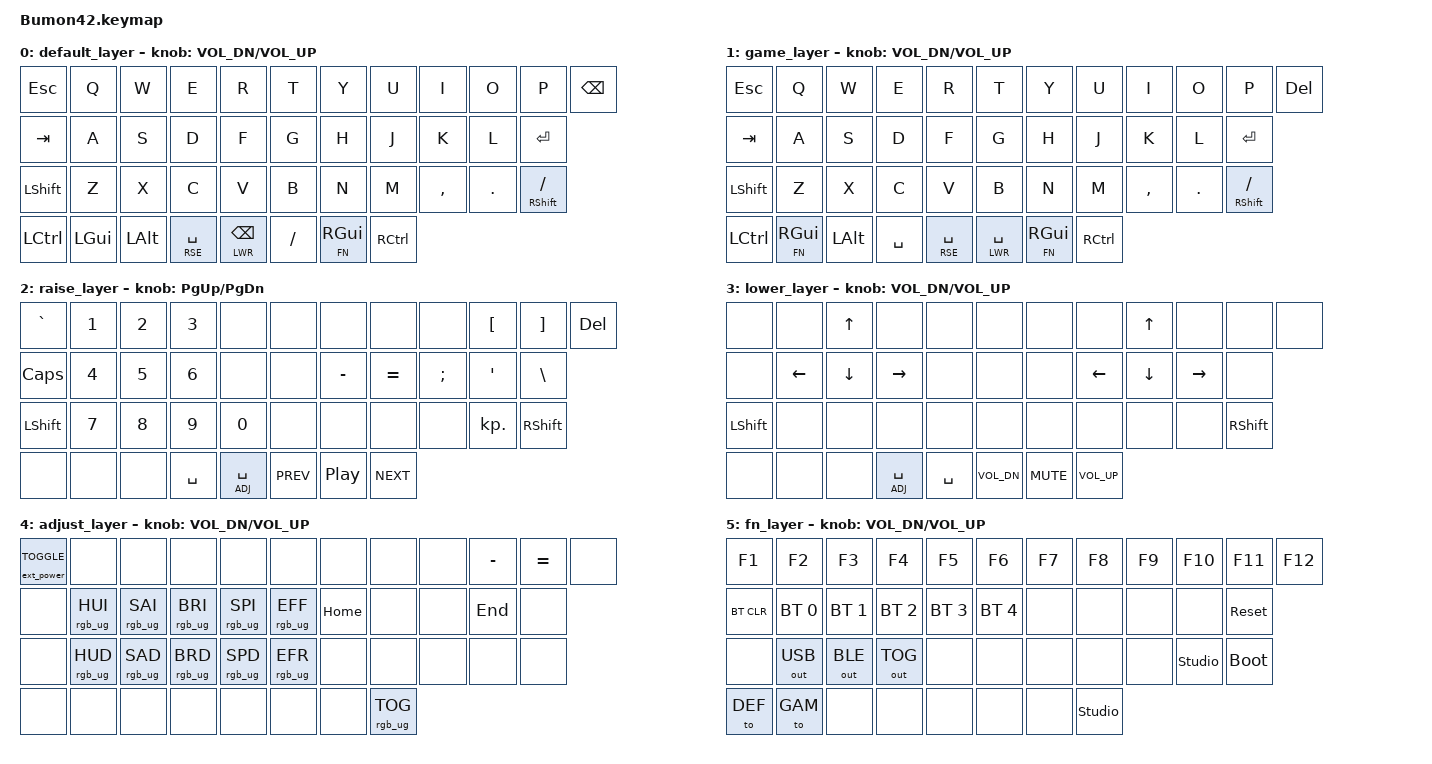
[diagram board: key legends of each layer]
#include <behaviors.dtsi>
#include <dt-bindings/zmk/bt.h>
#include <dt-bindings/zmk/ext_power.h>
#include <dt-bindings/zmk/keys.h>
#include <dt-bindings/zmk/outputs.h>
#include <dt-bindings/zmk/rgb.h>

// changed lwr and rse

#define DEF 0
#define GAM 1
#define RSE 2
#define LWR 3
#define ADJ 4
#define FN  5

/ {
    keymap {
        compatible = "zmk,keymap";

        default_layer {
            bindings = <
&kp ESC    &kp Q     &kp W     &kp E          &kp R              &kp T      &kp Y        &kp U      &kp I      &kp O    &kp P             &kp BSPC
&kp TAB    &kp A     &kp S     &kp D          &kp F              &kp G      &kp H        &kp J      &kp K      &kp L    &kp ENTER
&kp LSHFT  &kp Z     &kp X     &kp C          &kp V              &kp B      &kp N        &kp M      &kp COMMA  &kp DOT  &mt RSHIFT SLASH
&kp LCTRL  &kp LGUI  &kp LALT  &lt RSE SPACE  &lt LWR BACKSPACE  &kp SLASH  &lt FN RGUI  &kp RCTRL
            >;

            sensor-bindings = <&inc_dec_kp C_VOL_DN C_VOL_UP>;
        };

        game_layer {
            bindings = <
&kp ESC    &kp Q        &kp W     &kp E      &kp R          &kp T          &kp Y        &kp U      &kp I      &kp O    &kp P             &kp DEL
&kp TAB    &kp A        &kp S     &kp D      &kp F          &kp G          &kp H        &kp J      &kp K      &kp L    &kp ENTER
&kp LSHFT  &kp Z        &kp X     &kp C      &kp V          &kp B          &kp N        &kp M      &kp COMMA  &kp DOT  &mt RSHIFT SLASH
&kp LCTRL  &lt FN RGUI  &kp LALT  &kp SPACE  &lt RSE SPACE  &lt LWR SPACE  &lt FN RGUI  &kp RCTRL
            >;

            sensor-bindings = <&inc_dec_kp C_VOL_DN C_VOL_UP>;
        };

        raise_layer {
            bindings = <
&kp GRAVE  &kp N1  &kp N2  &kp N3        &none          &none       &none      &none       &none          &kp LEFT_BRACKET  &kp RIGHT_BRACKET  &kp DEL
&kp CAPS   &kp N4  &kp N5  &kp NUMBER_6  &none          &none       &kp MINUS  &kp EQUAL   &kp SEMICOLON  &kp SINGLE_QUOTE  &kp BACKSLASH
&kp LSHFT  &kp N7  &kp N8  &kp N9        &kp N0         &none       &none      &none       &none          &kp KP_DOT        &kp RSHFT
&none      &none   &none   &kp SPACE     &lt ADJ SPACE  &kp C_PREV  &kp C_PP   &kp C_NEXT
            >;

            sensor-bindings = <&inc_dec_kp PG_UP PG_DN>;
        };

        lower_layer {
            bindings = <
&none      &none           &kp UP_ARROW    &none            &none      &none         &none       &none         &kp UP    &none      &none      &none
&none      &kp LEFT_ARROW  &kp DOWN_ARROW  &kp RIGHT_ARROW  &none      &none         &none       &kp LEFT      &kp DOWN  &kp RIGHT  &none
&kp LSHFT  &none           &none           &none            &none      &none         &none       &none         &none     &none      &kp RSHFT
&none      &none           &none           &lt ADJ SPACE    &kp SPACE  &kp C_VOL_DN  &kp C_MUTE  &kp C_VOL_UP
            >;

            sensor-bindings = <&inc_dec_kp C_VOL_DN C_VOL_UP>;
        };

        adjust_layer {
            bindings = <
&ext_power EXT_POWER_TOGGLE_CMD  &none            &none            &none            &none            &none            &none     &none            &none  &kp MINUS  &kp EQUAL  &none
&none                            &rgb_ug RGB_HUI  &rgb_ug RGB_SAI  &rgb_ug RGB_BRI  &rgb_ug RGB_SPI  &rgb_ug RGB_EFF  &kp HOME  &none            &none  &kp END    &none
&none                            &rgb_ug RGB_HUD  &rgb_ug RGB_SAD  &rgb_ug RGB_BRD  &rgb_ug RGB_SPD  &rgb_ug RGB_EFR  &none     &none            &none  &none      &none
&none                            &none            &none            &none            &none            &none            &none     &rgb_ug RGB_TOG
            >;

            sensor-bindings = <&inc_dec_kp C_VOL_DN C_VOL_UP>;
        };

        fn_layer {
            bindings = <
&kp F1      &kp F2        &kp F3        &kp F4        &kp F5        &kp F6        &kp F7  &kp F8          &kp F9  &kp F10         &kp F11      &kp F12
&bt BT_CLR  &bt BT_SEL 0  &bt BT_SEL 1  &bt BT_SEL 2  &bt BT_SEL 3  &bt BT_SEL 4  &none   &none           &none   &none           &sys_reset
&none       &out OUT_USB  &out OUT_BLE  &out OUT_TOG  &none         &none         &none   &none           &none   &studio_unlock  &bootloader
&to DEF     &to GAM       &none         &none         &none         &none         &none   &studio_unlock
            >;

            sensor-bindings = <&inc_dec_kp C_VOL_DN C_VOL_UP>;
        };

        extra1 { status = "reserved"; };

        extra2 { status = "reserved"; };
    };
};
